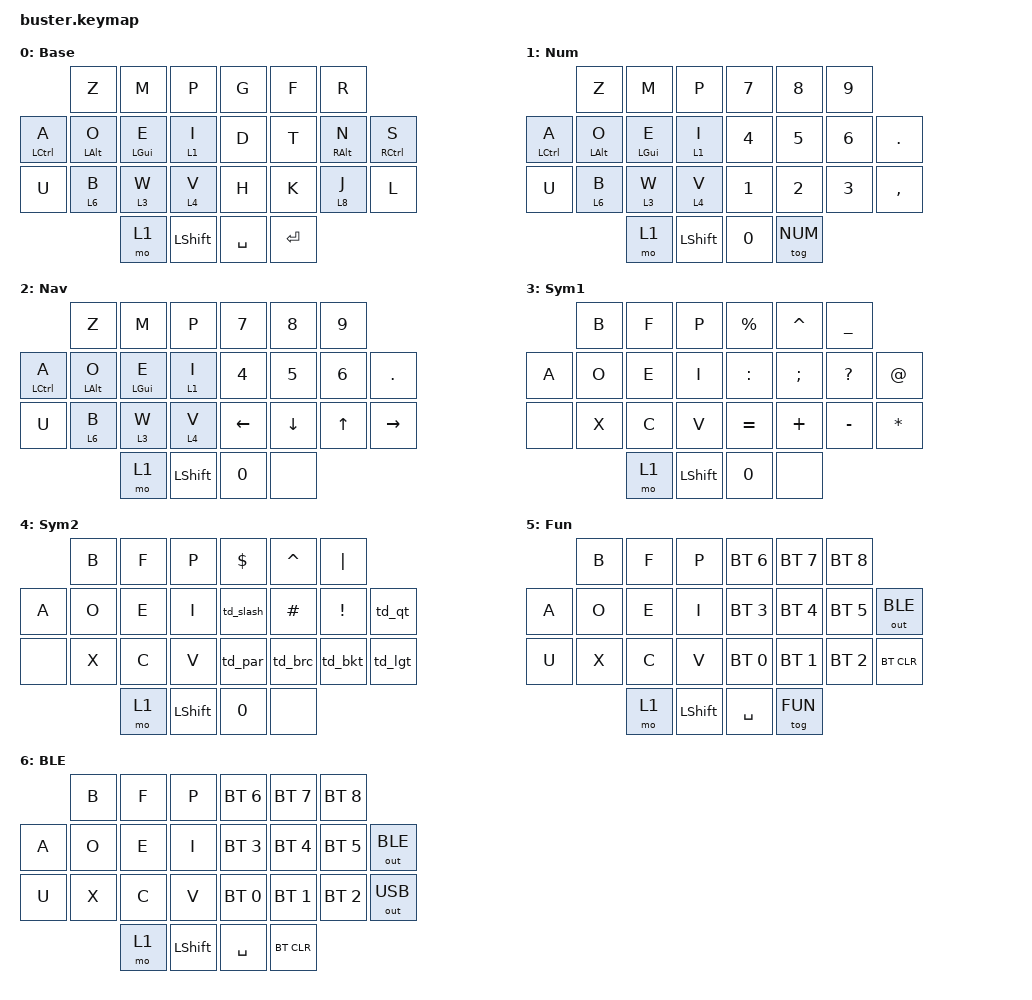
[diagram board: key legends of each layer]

#include <behaviors.dtsi>
#include <dt-bindings/zmk/keys.h>
#include <dt-bindings/zmk/bt.h>
#include <dt-bindings/zmk/outputs.h>

#define BASE 0
#define NUM 1
#define NAV 2
#define SYM1 3
#define SYM2 4
#define FUN 5
#define BLE 6

//                          ╭────────────────────────┬────────────────────────┬────────────────────────╮                             ╭────────────────────────┬────────────────────────┬────────────────────────┬────────────────────────╮
//                          | 0                      | 1                      | 2                      |                             | 3                      | 4                      | 5                      | 6                      | 
//                          |                    ╭────────╮               ╭────────╮                   |                             |                    ╭────────╮              ╭────────╮                ╭────────╮                   |
//                          |                    |        |               |   Y    |                   |                             |                    |        |              |        |                |        |                   |
//                          |                    ╰────────╯               ╰────────╯                   |                             |                    ╰────────╯              ╰────────╯                ╰────────╯                   |
//                          |     ╭────────────╮     |     ╭────────────╮     |     ╭────────────╮     |                             |     ╭────────────╮     |     ╭────────────╮     |     ╭────────────╮     |     ╭────────────╮     | 
// ╭────────────────────────|─────| COMMA      |─────┼─────| DOT        |─────┼─────| Q          |─────┤                             ├─────| DEL        |─────┼─────| ESC        |─────┼─────| TAB        |─────┼─────|            |─────┤
// | 7                      | 8   ╰────────────╯     | 9   ╰────────────╯     | 10  ╰────────────╯     |                             | 11  ╰────────────╯     | 12  ╰────────────╯     | 13  ╰────────────╯     | 14  ╰────────────╯     |
// |                        |                        |                        |                        |                             |                        |                        |                        |                        |
// |                   ╭────────╮               ╭────────╮               ╭────────╮                    |                             |                    ╭────────╮               ╭────────╮               ╭────────╮                   | 
// |                   |        |               |        |               |        |                    |                             |                    |        |               |        |               |        |                   |
// |                   ╰────────╯               ╰────────╯               ╰────────╯                    |                             |                    ╰────────╯               ╰────────╯               ╰────────╯                   |
// |     ╭────────────╮     |     ╭────────────╮     |     ╭────────────╮     |     ╭────────────╮     |                             |     ╭────────────╮     |     ╭────────────╮     |     ╭────────────╮     |     ╭────────────╮     |
// ├─────|            |─────┼─────|            |─────┼─────|            |─────┼─────| X          |─────┤                             ├─────| BSPACE     |─────┼─────| RET        |─────┼─────|            |─────┼─────|            |─────┤
// | 15  ╰────────────╯     | 16  ╰────────────╯     | 17  ╰────────────╯     | 18  ╰────────────╯     |                             | 19  ╰────────────╯     | 20  ╰────────────╯     | 21  ╰────────────╯     | 22  ╰────────────╯     |
// |                        |                        |                        |                        |                             |                        |                        |                        |                        |
// |                   ╭────────╮               ╭────────╮               ╭────────╮                    |                             |                    ╭────────╮               ╭────────╮               ╭────────╮                   | 
// |                   |        |               |        |               |        |                    |                             |                    |        |               |        |               |        |                   |
// |                   ╰────────╯               ╰────────╯               ╰────────╯                    |                             |                    ╰────────╯               ╰────────╯               ╰────────╯                   |
// |                        |                        |                        |                        |                             |                        |                        |                        |                        |
// ╰────────────────────────┼────────────────────────┼────────────────────────┼────────────────────────┤                             ├────────────────────────┼────────────────────────┼────────────────────────┼────────────────────────╯
//                                                   | 23                     | 24                     |                             | 25                     | 26                     |
//                                                   |                        |                        |                             |                        |                        |
//                                                   |                        |                        |                             |                        |                        |
//                                                   |                        |                        |                             |                        |                        |
//                                                   |                        |                        |                             |                        |                        |
//                                                   ╰────────────────────────┴────────────────────────╯                             ╰────────────────────────┴────────────────────────╯

/ {
    combos {
        compatible = "zmk,combos";
        // Letters
        combo_Q {
            timeout-ms = <50>;
            key-positions = <2 10>;
            bindings = <&kp Q>;
        };
        combo_Y {
            timeout-ms = <50>;
            key-positions = <1 2>;
            bindings = <&kp Y>;
        };
        combo_X {
            timeout-ms = <50>;
            key-positions = <10 18>;
            bindings = <&kp X>;
        };
        combo_C {
            timeout-ms = <50>;
            key-positions = <20 21>;
            bindings = <&kp C>;
        };
        combo_COMMA {
            timeout-ms = <50>;
            key-positions = <0 9>;
            bindings = <&kp COMMA>;
        };
        combo_DOT {
            timeout-ms = <50>;
            key-positions = <1 9>;
            bindings = <&kp DOT>;
        };
        combo_TAB {
            timeout-ms = <50>;
            key-positions = <5 13>;
            bindings = <&kp TAB>;
        };
        // FUNCTIONS
        combo_DEL {
            timeout-ms = <50>;
            key-positions = <3 11>;
            bindings = <&kp DEL>;
        };
        combo_BSPACE {
            timeout-ms = <50>;
            key-positions = <11 19>;
            bindings = <&kp BSPC>;
        };
        combo_RET {
            timeout-ms = <50>;
            key-positions = <12 20>;
            bindings = <&kp RET>;
        };
        combo_ESC {
            timeout-ms = <50>;
            key-positions = <4 12>;
            bindings = <&kp ESC>;
        };
        combo_nav {
            timeout-ms = <50>;
            key-positions = <19 20 21 22>;
            bindings = <&tog NAV>;
        };
    };
    behaviors {
        td_num:  tap_dance_0{
            compatible = "zmk,behavior-tap-dance";
            #binding-cells = <0>;
            tapping-term-ms = <300>;
            bindings = <&sl 5>, <&sl 6>;
        };
        td_brc:  tap_dance_brc{
            compatible = "zmk,behavior-tap-dance";
            #binding-cells = <0>;
            tapping-term-ms = <300>;
            bindings = <&kp LBRC>, <&kp RBRC>;
        };
        td_bkt:  tap_dance_bkt{
            compatible = "zmk,behavior-tap-dance";
            #binding-cells = <0>;
            tapping-term-ms = <300>;
            bindings = <&kp LBKT>, <&kp RBKT>;
        };
        td_par:  tap_dance_par{
            compatible = "zmk,behavior-tap-dance";
            #binding-cells = <0>;
            tapping-term-ms = <300>;
            bindings = <&kp LPAR>, <&kp RPAR>;
        };
        td_lgt:  tap_dance_lgt{
            compatible = "zmk,behavior-tap-dance";
            #binding-cells = <0>;
            tapping-term-ms = <300>;
            bindings = <&kp LT>, <&kp GT>;
        };
        td_slash:  tap_dance_slash{
            compatible = "zmk,behavior-tap-dance";
            #binding-cells = <0>;
            tapping-term-ms = <300>;
            bindings = <&kp SLASH>, <&kp BACKSLASH>;
        };
        td_qt:  tap_dance_qt{
            compatible = "zmk,behavior-tap-dance";
            #binding-cells = <0>;
            tapping-term-ms = <300>;
            bindings = <&kp SQT>, <&kp DQT>;
        };
        lht: left_positional_hold_tap {
             compatible = "zmk,behavior-hold-tap";
             #binding-cells = <2>;
             flavor = "tap-preferred";
             tapping-term-ms = <300>;                        // <---[[produces tap if held longer than tapping-term-ms]]
             quick-tap-ms = <200>;
             require-prior-idle-ms = <125>;
             bindings = <&kp>, <&kp>;
             //hold-trigger-key-positions = < 6 7 8 9 10 18 19 20 21 22 30 31 32 33 34 39 40 41 >;    // <---[[Right-hand keys]]
        };
        rht: right_positional_hold_tap {
             compatible = "zmk,behavior-hold-tap";
             #binding-cells = <2>;
             flavor = "tap-preferred";
             tapping-term-ms = <300>;                        // <---[[produces tap if held longer than tapping-term-ms]]
             quick-tap-ms = <200>;
             require-prior-idle-ms = <125>;
             bindings = <&kp>, <&kp>;
             //hold-trigger-key-positions = < 1 2 3 4 5 13 14 15 16 17 25 26 27 28 29 36 37 38 >;    // <---[[Left-hand keys]]
        };
        mlt: momentary_layer_tap {
             compatible = "zmk,behavior-hold-tap";
             #binding-cells = <2>;
             flavor = "tap-preferred";
             tapping-term-ms = <300>;                        // <---[[produces tap if held longer than tapping-term-ms]]
             quick-tap-ms = <200>;
             require-prior-idle-ms = <125>;
             bindings = <&mo>, <&kp>;
             //hold-trigger-key-positions = < 1 2 3 4 5 13 14 15 16 17 25 26 27 28 29 36 37 38 >;    // <---[[Left-hand keys]]
        };
    };
    keymap {
        compatible = "zmk,keymap";

        base_layer {
            display-name = "Base";
            bindings = <
//                          ╭────────────────────────┬────────────────────────┬────────────────────────╮             ╭────────────────────────┬────────────────────────┬────────────────────────╮                          
                              &kp Z                    &kp M                    &kp P                                  &kp G                    &kp F                    &kp R                     
// ╭────────────────────────┼────────────────────────┼────────────────────────┼────────────────────────┤             ├────────────────────────┼────────────────────────┼────────────────────────┼───────────────────────╮
     &lht LCTRL A             &lht LALT O              &lht LGUI  E             &mlt 1 I                               &kp D                    &kp T                    &rht RALT N              &rht RCTRL S
// ├────────────────────────┼────────────────────────┼────────────────────────┼────────────────────────┤             ├────────────────────────┼────────────────────────┼────────────────────────┼───────────────────────┤
     &kp U                    &mlt 6 B                 &mlt 3 W                 &mlt 4 V                               &kp H                    &kp K                    &mlt 8 J                 &kp L
// ╰────────────────────────┴────────────────────────┴────────────────────────┴────────────────────────┤             ├────────────────────────┼────────────────────────┼────────────────────────┴───────────────────────╯
                                                       &mo 1                    &kp LSHFT                              &kp SPC                  &kp RET
//                                                   ╰────────────────────────┴────────────────────────╯             ╰────────────────────────┴────────────────────────╯                           
            >;
        };

        Num_layer {
            display-name = "Num";
            bindings = <
//                          ╭────────────────────────┬────────────────────────┬────────────────────────╮             ╭────────────────────────┬────────────────────────┬────────────────────────╮                          
                              &kp Z                    &kp M                    &kp P                                  &kp N7                   &kp N8                   &kp N9                   
// ╭────────────────────────┼────────────────────────┼────────────────────────┼────────────────────────┤             ├────────────────────────┼────────────────────────┼────────────────────────┼───────────────────────╮
     &lht LCTRL A             &lht LALT O              &lht LGUI  E             &mlt 1 I                               &kp N4                   &kp N5                   &kp N6                   &kp DOT     
// ├────────────────────────┼────────────────────────┼────────────────────────┼────────────────────────┤             ├────────────────────────┼────────────────────────┼────────────────────────┼───────────────────────┤
     &kp U                    &mlt 6 B                 &mlt 3 W                 &mlt 4 V                               &kp N1                   &kp N2                   &kp N3                   &kp COMMA
// ╰────────────────────────┴────────────────────────┴────────────────────────┴────────────────────────┤             ├────────────────────────┼────────────────────────┼────────────────────────┴───────────────────────╯
                                                       &mo 1                    &kp LSHFT                              &kp N0                   &tog NUM
//                                                   ╰────────────────────────┴────────────────────────╯             ╰────────────────────────┴────────────────────────╯                           

            >;
        };
        
        Nav_layer {
            display-name = "Nav";
            bindings = <
//                          ╭────────────────────────┬────────────────────────┬────────────────────────╮             ╭────────────────────────┬────────────────────────┬────────────────────────╮                          
                              &kp Z                    &kp M                    &kp P                                  &kp N7                   &kp N8                   &kp N9                  
// ╭────────────────────────┼────────────────────────┼────────────────────────┼────────────────────────┤             ├────────────────────────┼────────────────────────┼────────────────────────┼───────────────────────╮
     &lht LCTRL A             &lht LALT O              &lht LGUI  E             &mlt 1 I                               &kp N4                   &kp N5                   &kp N6                   &kp DOT     
// ├────────────────────────┼────────────────────────┼────────────────────────┼────────────────────────┤             ├────────────────────────┼────────────────────────┼────────────────────────┼───────────────────────┤
     &kp U                    &mlt 6 B                 &mlt 3 W                 &mlt 4 V                               &kp LEFT                 &kp DOWN                 &kp UP                   &kp RIGHT
// ╰────────────────────────┴────────────────────────┴────────────────────────┴────────────────────────┤             ├────────────────────────┼────────────────────────┼────────────────────────┴───────────────────────╯
                                                       &mo 1                    &kp LSHFT                              &kp N0                   &none    
//                                                   ╰────────────────────────┴────────────────────────╯             ╰────────────────────────┴────────────────────────╯                           
            >;
        };
        Sym1_layer {
            display-name = "Sym1";
            bindings = <
//                          ╭────────────────────────┬────────────────────────┬────────────────────────╮             ╭────────────────────────┬────────────────────────┬────────────────────────╮                          
                              &kp B                    &kp F                    &kp P                                  &kp PERCENT              &kp CARET                &kp UNDERSCORE           
// ╭────────────────────────┼────────────────────────┼────────────────────────┼────────────────────────┤             ├────────────────────────┼────────────────────────┼────────────────────────┼───────────────────────╮
     &kp A                    &kp O                    &kp E                    &kp I                                  &kp COLON                &kp SEMI                 &kp QMARK                &kp AT      
// ├────────────────────────┼────────────────────────┼────────────────────────┼────────────────────────┤             ├────────────────────────┼────────────────────────┼────────────────────────┼───────────────────────┤
     &none                    &kp X                    &kp C                    &kp V                                  &kp EQUAL                &kp PLUS                 &kp MINUS                &kp ASTERISK
// ╰────────────────────────┴────────────────────────┴────────────────────────┴────────────────────────┤             ├────────────────────────┼────────────────────────┼────────────────────────┴───────────────────────╯
                                                       &mo 1                    &kp LSHFT                              &kp N0                   &none    
//                                                   ╰────────────────────────┴────────────────────────╯             ╰────────────────────────┴────────────────────────╯                           
            >;
        };

        Sym2_layer {
            display-name = "Sym2";
            bindings = <
//                          ╭────────────────────────┬────────────────────────┬────────────────────────╮             ╭────────────────────────┬────────────────────────┬────────────────────────╮                          
                              &kp B                    &kp F                    &kp P                                  &kp DOLLAR               &kp CARET                &kp PIPE                 
// ╭────────────────────────┼────────────────────────┼────────────────────────┼────────────────────────┤             ├────────────────────────┼────────────────────────┼────────────────────────┼───────────────────────╮
     &kp A                    &kp O                    &kp E                    &kp I                                  &td_slash                &kp POUND                &kp EXCLAMATION          &td_qt      
// ├────────────────────────┼────────────────────────┼────────────────────────┼────────────────────────┤             ├────────────────────────┼────────────────────────┼────────────────────────┼───────────────────────┤
     &none                    &kp X                    &kp C                    &kp V                                  &td_par                  &td_brc                  &td_bkt                  &td_lgt     
// ╰────────────────────────┴────────────────────────┴────────────────────────┴────────────────────────┤             ├────────────────────────┼────────────────────────┼────────────────────────┴───────────────────────╯
                                                       &mo 1                    &kp LSHFT                              &kp N0                   &none    
//                                                   ╰────────────────────────┴────────────────────────╯             ╰────────────────────────┴────────────────────────╯                           
            >;
        };
        Fun_layer {
            display-name = "Fun";
            bindings = <
//                          ╭────────────────────────┬────────────────────────┬────────────────────────╮                             ╭────────────────────────┬────────────────────────┬────────────────────────╮
                              &kp B                    &kp F                    &kp P                                                  &bt BT_SEL 6             &bt BT_SEL 7             &bt BT_SEL 8             
// ╭────────────────────────┼────────────────────────┼────────────────────────┼────────────────────────┤                             ├────────────────────────┼────────────────────────┼────────────────────────┼────────────────────────╮
     &kp A                    &kp O                    &kp E                    &kp I                                                  &bt BT_SEL 3             &bt BT_SEL 4             &bt BT_SEL 5             &out OUT_BLE
// ├────────────────────────┼────────────────────────┼────────────────────────┼────────────────────────┤                             ├────────────────────────┼────────────────────────┼────────────────────────┼────────────────────────┤
     &kp U                    &kp X                    &kp C                    &kp V                                                  &bt BT_SEL 0             &bt BT_SEL 1             &bt BT_SEL 2             &bt BT_CLR
// ╰────────────────────────┴────────────────────────┴────────────────────────┴────────────────────────┤                             ├────────────────────────┼────────────────────────┼────────────────────────┼────────────────────────╯
                                                       &mo 1                    &kp LSHFT                                              &kp SPC                  &tog FUN
//                                                   ╰────────────────────────┴────────────────────────╯                             ╰────────────────────────┴────────────────────────╯
            >;
        };
        
        BLE_layer {
            display-name = "BLE";
            bindings = <
//                          ╭────────────────────────┬────────────────────────┬────────────────────────╮                             ╭────────────────────────┬────────────────────────┬────────────────────────╮
                              &kp B                    &kp F                    &kp P                                                  &bt BT_SEL 6             &bt BT_SEL 7             &bt BT_SEL 8             
// ╭────────────────────────┼────────────────────────┼────────────────────────┼────────────────────────┤                             ├────────────────────────┼────────────────────────┼────────────────────────┼────────────────────────╮
     &kp A                    &kp O                    &kp E                    &kp I                                                  &bt BT_SEL 3             &bt BT_SEL 4             &bt BT_SEL 5             &out OUT_BLE
// ├────────────────────────┼────────────────────────┼────────────────────────┼────────────────────────┤                             ├────────────────────────┼────────────────────────┼────────────────────────┼────────────────────────┤
     &kp U                    &kp X                    &kp C                    &kp V                                                  &bt BT_SEL 0             &bt BT_SEL 1             &bt BT_SEL 2             &out OUT_USB
// ╰────────────────────────┴────────────────────────┴────────────────────────┴────────────────────────┤                             ├────────────────────────┼────────────────────────┼────────────────────────┼────────────────────────╯
                                                       &mo 1                    &kp LSHFT                                              &kp SPC                  &bt BT_CLR
//                                                   ╰────────────────────────┴────────────────────────╯                             ╰────────────────────────┴────────────────────────╯
            >;
        };
};
